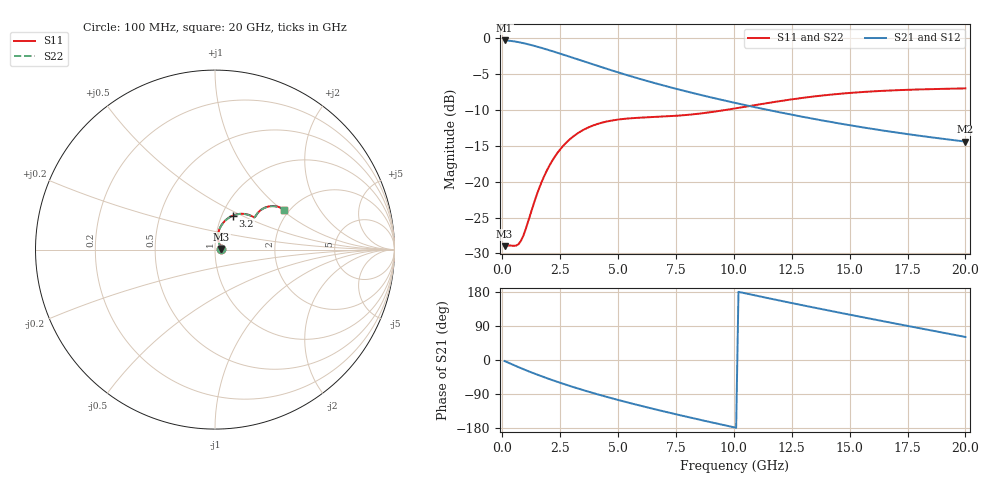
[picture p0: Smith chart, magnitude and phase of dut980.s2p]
! Touchstone file exported from HFSS 2024.1.0
!  File:  C:/UserFiles/LocalFiles/RDL_TSV_Batchsim/temp_RDL_TSV_980_1779973473.aedt
!  Generated:  09:21:10 PM May 28, 2026
!  Design:  RDL_TSV
!  Project:  temp_RDL_TSV_980_1779973473
!  Setup:  Setup1
!  Solution:  Sweep
! Variables:
!  dtsv = 14.18um
!  hbump = 3um
!  htsv = 81.29um
!  ldown = 615.08um
!  lrdl = 584.73um
!  p = 40
!  p1 = 58.17um
!  rhole = 10um
!  subl = 4184.16um
!  t = 450um
!  tdown = 2.51um
!  trdl = 2.31um
!  viad = 10um
!  wdown = 28.11um
!  wrdl = 13.06um
!  xbump = 18um
# GHz S MA R 50.000000
! Terminal data exported
! Port[1] = TM1_1_T1
! Port[2] = TM1_4_T1
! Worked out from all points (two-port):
!   200 points, 100 MHz to 20 GHz, reference 50 ohm
!   highest |S21| = -0.32 dB at 100 MHz (marker M1); lowest = -14.4 dB at 20 GHz (marker M2)
!   |S21| within 3 dB of the highest: start of sweep to 3.601 GHz
!   lowest |S11| = -29.0 dB at 100 MHz (marker M3), VSWR 1.07, Z = 53.7 + j0.361 ohm
!   |S11| at or under -10 dB: start of sweep to 9.653 GHz
!   |S22| runs from -29.0 to -7.0 dB; largest |S21 - S12| = 8.3e-14
!   S11 on the Smith chart (normalised r, x): 100 MHz: 1.07, +0.01; 3.2 GHz: 1.13, +0.45; 20 GHz: 1.88, +1.05
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0.1  0.03556 5.4  0.9638 -2.8  0.9638 -2.8  0.03556 5.4
! Gamma 0 0 0 0
! Port Impedance 50 0 50 0
0.6  0.03589 33.2  0.9449 -16.2  0.9449 -16.2  0.0359 33.2
0.8  0.03859 49.0  0.9317 -21.4  0.9317 -21.4  0.0386 48.9
1  0.04615 63.1  0.9165 -26.5  0.9165 -26.5  0.04614 63.0
1.2  0.05833 72.4  0.8998 -31.3  0.8998 -31.3  0.05829 72.3
1.6  0.0907 78.6  0.8641 -40.7  0.8641 -40.7  0.09059 78.5
1.9  0.1174 77.7  0.8362 -47.4  0.8362 -47.4  0.1172 77.6
2.3  0.152 73.7  0.7987 -56.0  0.7987 -56.0  0.1517 73.6
2.7  0.1828 68.6  0.7616 -64.2  0.7616 -64.2  0.1825 68.5
3.2  0.2144 62.2  0.7167 -74.0  0.7167 -74.0  0.214 62.1
3.5  0.2296 58.6  0.6908 -79.6  0.6908 -79.6  0.2291 58.5
4.3  0.2577 50.5  0.627 -93.8  0.627 -93.8  0.2571 50.5
5.1  0.2722 44.8  0.5711 -107.1  0.5711 -107.1  0.2715 44.7
5.9  0.279 41.3  0.5225 -119.6  0.5225 -119.6  0.2782 41.2
6.8  0.2834 39.5  0.4757 -133.1  0.4757 -133.1  0.2825 39.4
8.3  0.2954 39.7  0.4121 -154.5  0.4121 -154.5  0.2944 39.7
10.1  0.3248 40.8  0.3527 -178.8  0.3527 -178.8  0.3238 40.8
11.7  0.3583 40.3  0.3108 160.4  0.3108 160.4  0.3573 40.3
13.4  0.3915 38.1  0.2749 139.1  0.2749 139.1  0.3903 38.2
15  0.4152 35.6  0.2475 119.6  0.2475 119.6  0.414 35.6
16.7  0.4316 33.0  0.224 99.4  0.224 99.4  0.4303 33.0
20  0.4467 29.9  0.1904 60.8  0.1904 60.8  0.4452 30.0
